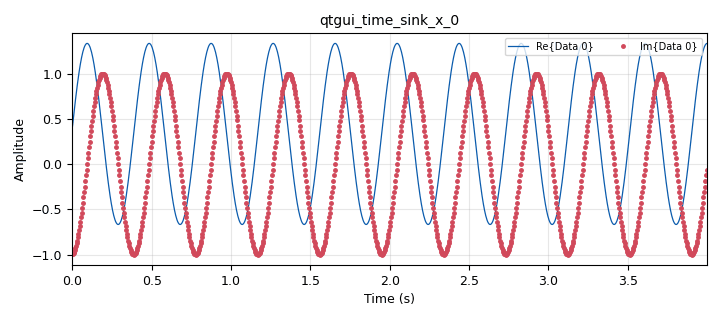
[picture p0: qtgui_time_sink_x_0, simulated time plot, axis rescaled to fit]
options:
  parameters:
    author: Maxbarr007
    generate_options: qt_gui
    id: ej9e
    output_language: python
    title: Not titled yet
  states: {}

blocks:
- name: samp_rate
  id: variable
  parameters:
    value: '32000'
  states: {}
- name: analog_sig_source_x_0
  id: analog_sig_source_x
  parameters:
    amp: '1'
    freq: '100'
    offset: '0'
    phase: '0'
    samp_rate: '10000'
    type: complex
    waveform: analog.GR_COS_WAVE
  states: {}
- name: blocks_add_const_vxx_0
  id: blocks_add_const_vxx
  parameters:
    const: '0.5'
    type: complex
  states: {}
- name: blocks_multiply_const_vxx_0
  id: blocks_multiply_const_vxx
  parameters:
    const: '1.5'
    type: complex
  states: {}
- name: blocks_multiply_const_vxx_1
  id: blocks_multiply_const_vxx
  parameters:
    const: 2/3
    type: complex
  states: {}
- name: blocks_throttle2_0
  id: blocks_throttle2
  parameters:
    samples_per_second: '10000'
    type: complex
  states: {}
- name: qtgui_time_sink_x_0
  id: qtgui_time_sink_x
  parameters:
    ctrlpanel: 'True'
    size: '1024'
    srate: '256'
    style2: '0'
    type: complex
  states: {}

connections:
- [analog_sig_source_x_0, '0', blocks_throttle2_0, '0']
- [blocks_add_const_vxx_0, '0', blocks_multiply_const_vxx_1, '0']
- [blocks_multiply_const_vxx_0, '0', blocks_add_const_vxx_0, '0']
- [blocks_multiply_const_vxx_1, '0', qtgui_time_sink_x_0, '0']
- [blocks_throttle2_0, '0', blocks_multiply_const_vxx_0, '0']

metadata:
  file_format: 1
  grc_version: 3.10.12.0
